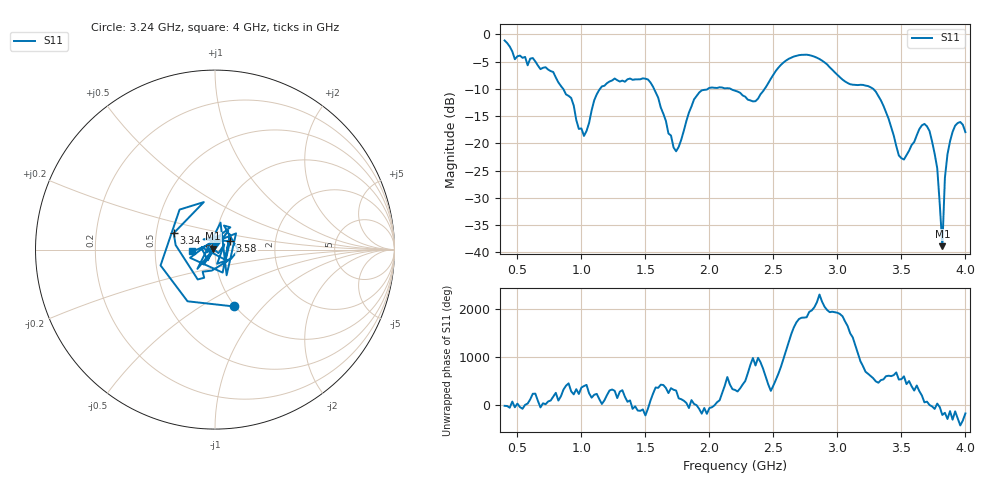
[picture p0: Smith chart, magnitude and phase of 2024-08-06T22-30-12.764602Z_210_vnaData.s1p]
!Created with skrf (http://scikit-rf.org).
# Hz S RI R 50.0
!freq ReS11 ImS11
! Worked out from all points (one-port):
!   181 points, 400 MHz to 4 GHz, reference 50 ohm
!   lowest |S11| = -38.9 dB at 3.82 GHz (marker M1), VSWR 1.02, Z = 49 + j0.515 ohm
!   |S11| at or under -10 dB: 857 MHz to 1.146 GHz (288.8 MHz wide, 28.8 % of centre); 1.567 GHz to 1.989 GHz (421.9 MHz wide, 23.7 % of centre); 3.279 GHz to end of sweep (the widest 3 of 4)
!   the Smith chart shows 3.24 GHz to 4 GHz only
!   S11 on the Smith chart (normalised r, x): 3.24 GHz: 0.99, -0.71; 3.34 GHz: 0.62, +0.12; 3.58 GHz: 1.18, +0.11; 4 GHz: 0.78, -0.02
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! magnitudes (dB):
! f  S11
! 400 MHz  -1.1
! 480 MHz  -4.6
! 620 MHz  -4.4
! 860 MHz  -10.1
! 1.02 GHz  -18.6
! 1.14 GHz  -10.2
! 1.3 GHz  -8.7
! 1.52 GHz  -8.3
! 1.72 GHz  -20.8
! 1.76 GHz  -20.7
! 1.92 GHz  -10.7
! 2.2 GHz  -10.3
! 2.36 GHz  -12.3
! 2.66 GHz  -4.1
! 3.1 GHz  -9.2
! 3.24 GHz  -9.5
! 3.34 GHz  -12.1
! 3.48 GHz  -22.2
! 3.56 GHz  -21.4
! 3.58 GHz  -20.3
! 3.66 GHz  -16.7
! 3.72 GHz  -17.8
! 3.78 GHz  -24.6
! 3.82 GHz  -38.9
! 3.84 GHz  -26.3
! 3.88 GHz  -19.6
! 3.94 GHz  -16.3
! 4 GHz  -17.9
